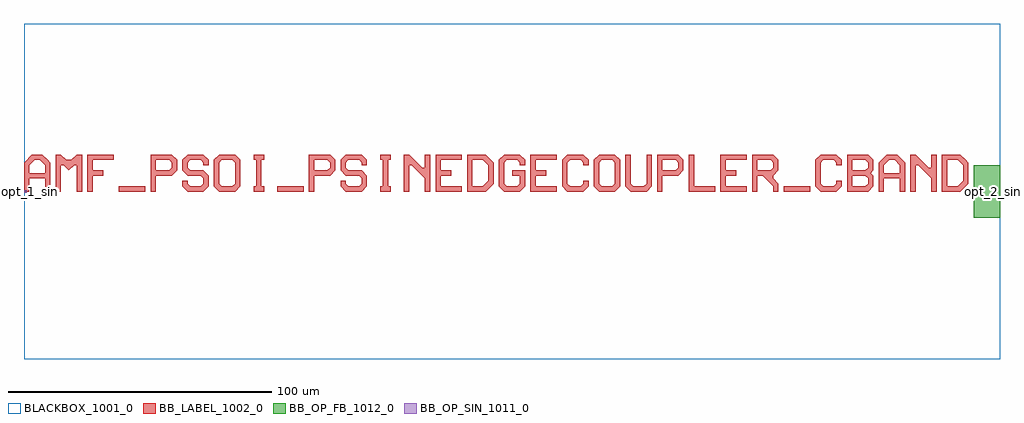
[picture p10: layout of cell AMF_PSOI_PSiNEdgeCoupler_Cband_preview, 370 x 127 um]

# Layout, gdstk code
import gdstk
lib = gdstk.Library(unit=1e-6, precision=1e-09)
def R(c, l, rs):  # rectangles x0, y0, x1, y1
    for r in rs: c.add(gdstk.rectangle(r[:2], r[2:], *l))
def P(c, l, *ps):  # polygons
    for p in ps: c.add(gdstk.Polygon(p, *l))
BLACKBOX_1001_0 = (1001, 0)
BB_LABEL_1002_0 = (1002, 0)
BB_OP_SIN_1011_0 = (1011, 0)
BB_OP_FB_1012_0 = (1012, 0)

amf_psoi_psinedgecoupler = lib.new_cell('AMF_PSOI_PSiNEdgeCoupler_Cband_preview')
R(amf_psoi_psinedgecoupler, BLACKBOX_1001_0, [(0,-63.5,370,63.5)])
R(amf_psoi_psinedgecoupler, BB_LABEL_1002_0, [(36.006,-0.007,46.006,1.993), (96.006,-0.007,106.006,1.993), (288.006,-0.007,298.006,1.993)])
P(amf_psoi_psinedgecoupler, BB_LABEL_1002_0, [(0.006,-0.007),(0.006,10.993),(3.006,13.993),(7.006,13.993),(9.006,11.993),(4.006,11.993),(2.006,9.993),(2.006,6.993),(8.006,6.993),(8.006,9.993),(6.006,11.993),(9.006,11.993),(10.006,10.993),(10.006,-0.007),(8.006,-0.007),(8.006,4.993),(2.006,4.993),(2.006,-0.007)],
  [(12.006,-0.007),(12.006,13.993),(14.006,13.993),(16.006,11.993),(18.006,11.993),(20.006,13.993),(22.006,13.993),(22.006,-0.007),(20.006,-0.007),(20.006,9.993),(19.006,9.993),(17.006,7.993),(15.006,9.993),(14.006,9.993),(14.006,-0.007)],
  [(24.006,-0.007),(24.006,13.993),(34.006,13.993),(34.006,11.993),(26.006,11.993),(26.006,7.993),(30.006,7.993),(30.006,5.993),(26.006,5.993),(26.006,-0.007)],
  [(48.006,-0.007),(48.006,13.993),(56.006,13.993),(58.006,11.993),(58.006,7.993),(56.006,5.993),(50.006,5.993),(50.006,7.993),(55.006,7.993),(56.006,8.993),(56.006,10.993),(55.006,11.993),(50.006,11.993),(50.006,-0.007)],
  [(62.006,-0.007),(60.006,1.993),(60.006,3.993),(62.006,3.993),(62.006,2.993),(63.006,1.993),(67.006,1.993),(68.006,2.993),(68.006,4.993),(67.006,5.993),(62.006,5.993),(60.006,7.993),(60.006,11.993),(62.006,13.993),(68.006,13.993),(70.006,11.993),(70.006,9.993),(68.006,9.993),(68.006,10.993),(67.006,11.993),(63.006,11.993),(62.006,10.993),(62.006,8.993),(63.006,7.993),(68.006,7.993),(70.006,5.993),(70.006,1.993),(68.006,-0.007)],
  [(74.006,-0.007),(72.006,1.993),(72.006,11.993),(74.006,13.993),(80.006,13.993),(82.006,11.993),(82.006,6.993),(80.006,6.993),(80.006,10.993),(79.006,11.993),(75.006,11.993),(74.006,10.993),(74.006,2.993),(75.006,1.993),(79.006,1.993),(80.006,2.993),(80.006,6.993),(82.006,6.993),(82.006,1.993),(80.006,-0.007)],
  [(87.006,-0.007),(87.006,1.993),(88.006,1.993),(88.006,11.993),(87.006,11.993),(87.006,13.993),(91.006,13.993),(91.006,11.993),(90.006,11.993),(90.006,1.993),(91.006,1.993),(91.006,-0.007)],
  [(108.006,-0.007),(108.006,13.993),(116.006,13.993),(118.006,11.993),(118.006,7.993),(116.006,5.993),(110.006,5.993),(110.006,7.993),(115.006,7.993),(116.006,8.993),(116.006,10.993),(115.006,11.993),(110.006,11.993),(110.006,-0.007)],
  [(122.006,-0.007),(120.006,1.993),(120.006,3.993),(122.006,3.993),(122.006,2.993),(123.006,1.993),(127.006,1.993),(128.006,2.993),(128.006,4.993),(127.006,5.993),(122.006,5.993),(120.006,7.993),(120.006,11.993),(122.006,13.993),(128.006,13.993),(130.006,11.993),(130.006,9.993),(128.006,9.993),(128.006,10.993),(127.006,11.993),(123.006,11.993),(122.006,10.993),(122.006,8.993),(123.006,7.993),(128.006,7.993),(130.006,5.993),(130.006,1.993),(128.006,-0.007)],
  [(135.006,-0.007),(135.006,1.993),(136.006,1.993),(136.006,11.993),(135.006,11.993),(135.006,13.993),(139.006,13.993),(139.006,11.993),(138.006,11.993),(138.006,1.993),(139.006,1.993),(139.006,-0.007)],
  [(144.006,-0.007),(144.006,13.993),(146.006,13.993),(151.006,8.993),(152.006,8.993),(152.006,13.993),(154.006,13.993),(154.006,-0.007),(152.006,-0.007),(152.006,4.993),(147.006,9.993),(146.006,9.993),(146.006,-0.007)],
  [(156.006,-0.007),(156.006,13.993),(166.006,13.993),(166.006,11.993),(158.006,11.993),(158.006,7.993),(162.006,7.993),(162.006,5.993),(158.006,5.993),(158.006,1.993),(166.006,1.993),(166.006,-0.007)],
  [(168.006,-0.007),(168.006,13.993),(175.006,13.993),(177.006,11.993),(170.006,11.993),(170.006,1.993),(174.006,1.993),(176.006,3.993),(176.006,9.993),(174.006,11.993),(177.006,11.993),(178.006,10.993),(178.006,2.993),(175.006,-0.007)],
  [(182.006,-0.007),(180.006,1.993),(180.006,11.993),(182.006,13.993),(188.006,13.993),(190.006,11.993),(190.006,9.993),(188.006,9.993),(188.006,10.993),(187.006,11.993),(183.006,11.993),(182.006,10.993),(182.006,2.993),(183.006,1.993),(187.006,1.993),(188.006,2.993),(188.006,5.993),(185.006,5.993),(185.006,7.993),(190.006,7.993),(190.006,1.993),(188.006,-0.007)],
  [(192.006,-0.007),(192.006,13.993),(202.006,13.993),(202.006,11.993),(194.006,11.993),(194.006,7.993),(198.006,7.993),(198.006,5.993),(194.006,5.993),(194.006,1.993),(202.006,1.993),(202.006,-0.007)],
  [(206.006,-0.007),(204.006,1.993),(204.006,11.993),(206.006,13.993),(212.006,13.993),(214.006,11.993),(214.006,9.993),(212.006,9.993),(212.006,10.993),(211.006,11.993),(207.006,11.993),(206.006,10.993),(206.006,2.993),(207.006,1.993),(211.006,1.993),(212.006,2.993),(212.006,3.993),(214.006,3.993),(214.006,1.993),(212.006,-0.007)],
  [(218.006,-0.007),(216.006,1.993),(216.006,11.993),(218.006,13.993),(224.006,13.993),(226.006,11.993),(226.006,6.993),(224.006,6.993),(224.006,10.993),(223.006,11.993),(219.006,11.993),(218.006,10.993),(218.006,2.993),(219.006,1.993),(223.006,1.993),(224.006,2.993),(224.006,6.993),(226.006,6.993),(226.006,1.993),(224.006,-0.007)],
  [(230.006,-0.007),(228.006,1.993),(228.006,13.993),(230.006,13.993),(230.006,2.993),(231.006,1.993),(235.006,1.993),(236.006,2.993),(236.006,13.993),(238.006,13.993),(238.006,1.993),(236.006,-0.007)],
  [(240.006,-0.007),(240.006,13.993),(248.006,13.993),(250.006,11.993),(250.006,7.993),(248.006,5.993),(242.006,5.993),(242.006,7.993),(247.006,7.993),(248.006,8.993),(248.006,10.993),(247.006,11.993),(242.006,11.993),(242.006,-0.007)],
  [(252.006,-0.007),(252.006,13.993),(254.006,13.993),(254.006,1.993),(262.006,1.993),(262.006,-0.007)],
  [(264.006,-0.007),(264.006,13.993),(274.006,13.993),(274.006,11.993),(266.006,11.993),(266.006,7.993),(270.006,7.993),(270.006,5.993),(266.006,5.993),(266.006,1.993),(274.006,1.993),(274.006,-0.007)],
  [(276.006,-0.007),(276.006,13.993),(284.006,13.993),(286.006,11.993),(278.006,11.993),(278.006,7.993),(283.006,7.993),(284.006,8.993),(284.006,10.993),(283.006,11.993),(286.006,11.993),(286.006,7.993),(284.006,5.993),(284.006,4.993),(286.006,2.993),(286.006,-0.007),(284.006,-0.007),(284.006,1.993),(280.006,5.993),(278.006,5.993),(278.006,-0.007)],
  [(302.006,-0.007),(300.006,1.993),(300.006,11.993),(302.006,13.993),(308.006,13.993),(310.006,11.993),(310.006,9.993),(308.006,9.993),(308.006,10.993),(307.006,11.993),(303.006,11.993),(302.006,10.993),(302.006,2.993),(303.006,1.993),(307.006,1.993),(308.006,2.993),(308.006,3.993),(310.006,3.993),(310.006,1.993),(308.006,-0.007)],
  [(312.006,-0.007),(312.006,13.993),(320.006,13.993),(322.006,11.993),(314.006,11.993),(314.006,7.993),(319.006,7.993),(320.006,8.993),(320.006,10.993),(319.006,11.993),(322.006,11.993),(322.006,7.993),(321.006,6.993),(322.006,5.993),(314.006,5.993),(314.006,1.993),(319.006,1.993),(320.006,2.993),(320.006,4.993),(319.006,5.993),(322.006,5.993),(322.006,1.993),(320.006,-0.007)],
  [(324.006,-0.007),(324.006,10.993),(327.006,13.993),(331.006,13.993),(333.006,11.993),(328.006,11.993),(326.006,9.993),(326.006,6.993),(332.006,6.993),(332.006,9.993),(330.006,11.993),(333.006,11.993),(334.006,10.993),(334.006,-0.007),(332.006,-0.007),(332.006,4.993),(326.006,4.993),(326.006,-0.007)],
  [(336.006,-0.007),(336.006,13.993),(338.006,13.993),(343.006,8.993),(344.006,8.993),(344.006,13.993),(346.006,13.993),(346.006,-0.007),(344.006,-0.007),(344.006,4.993),(339.006,9.993),(338.006,9.993),(338.006,-0.007)],
  [(348.006,-0.007),(348.006,13.993),(355.006,13.993),(357.006,11.993),(350.006,11.993),(350.006,1.993),(354.006,1.993),(356.006,3.993),(356.006,9.993),(354.006,11.993),(357.006,11.993),(358.006,10.993),(358.006,2.993),(355.006,-0.007)])
R(amf_psoi_psinedgecoupler, BB_OP_SIN_1011_0, [(0,-0.5,1,0.5)])
R(amf_psoi_psinedgecoupler, BB_OP_FB_1012_0, [(360,-10,370,10)])
amf_psoi_psinedgecoupler.add(gdstk.Label('opt_1_sin', (0,0), layer=1011, texttype=0))
amf_psoi_psinedgecoupler.add(gdstk.Label('opt_2_sin', (370,0), layer=1012, texttype=0))

lib.write_gds('AMF_PSOI_PSiNEdgeCoupler_Cband_preview.gds')
